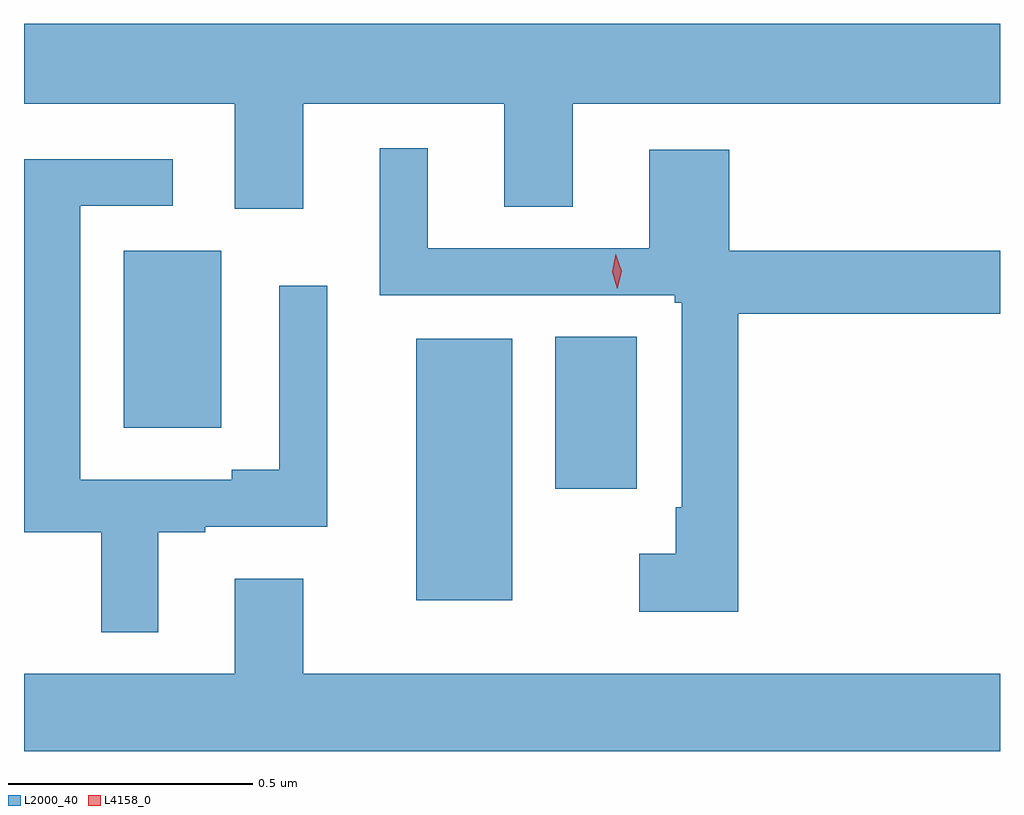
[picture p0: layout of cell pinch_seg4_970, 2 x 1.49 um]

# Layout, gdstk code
import gdstk
lib = gdstk.Library(unit=1e-6, precision=1e-09)
def R(c, l, rs):  # rectangles x0, y0, x1, y1
    for r in rs: c.add(gdstk.rectangle(r[:2], r[2:], *l))
def P(c, l, *ps):  # polygons
    for p in ps: c.add(gdstk.Polygon(p, *l))
L2000_40 = (2000, 40)
L4158_0 = (4158, 0)

pinch_seg4_970 = lib.new_cell('pinch_seg4_970')
R(pinch_seg4_970, L2000_40, [(684.107,765.167,684.304,765.703), (684.392,765.396,684.559,765.707), (683.507,765.521,683.707,765.883)])
P(pinch_seg4_970, L2000_40, [(683.875,766.184),(684.287,766.184),(684.287,765.973),(684.427,765.973),(684.427,766.184),(685.303,766.184),(685.303,766.348),(683.303,766.348),(683.303,766.184),(683.735,766.184),(683.735,765.969),(683.875,765.969)],
  [(684.767,765.754),(685.303,765.754),(685.303,765.883),(684.748,765.883),(684.748,766.09),(684.584,766.09),(684.584,765.888),(684.13,765.888),(684.13,766.093),(684.032,766.093),(684.032,765.792),(684.636,765.792),(684.636,765.777),(684.651,765.777),(684.651,765.358),(684.639,765.358),(684.639,765.262),(684.564,765.262),(684.564,765.143),(684.767,765.143)],
  [(683.578,765.306),(683.674,765.306),(683.674,765.318),(683.924,765.318),(683.924,765.811),(683.826,765.811),(683.826,765.434),(683.729,765.434),(683.729,765.414),(683.418,765.414),(683.418,765.975),(683.608,765.975),(683.608,766.071),(683.303,766.071),(683.303,765.306),(683.461,765.306),(683.461,765.101),(683.578,765.101)],
  [(685.303,765.016),(683.875,765.016),(683.875,765.211),(683.735,765.211),(683.735,765.016),(683.303,765.016),(683.303,764.858),(685.303,764.858)])
P(pinch_seg4_970, L4158_0, [(684.519,765.805),(684.519,765.805),(684.508,765.84),(684.516,765.876),(684.516,765.877),(684.516,765.876),(684.528,765.841),(684.519,765.805)])

lib.write_gds('pinch_seg4_970.gds')
